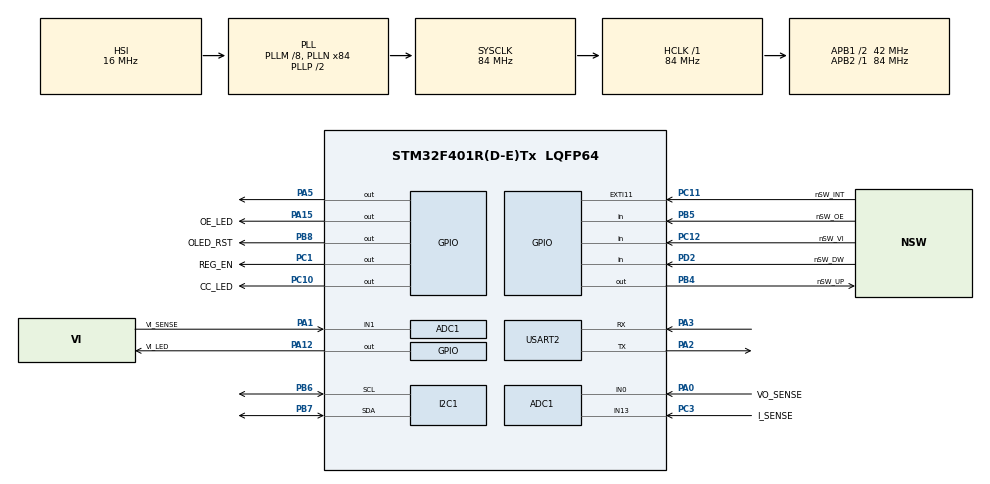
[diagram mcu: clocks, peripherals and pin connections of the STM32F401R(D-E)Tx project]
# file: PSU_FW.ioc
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ADC1.Channel-1\#ChannelRegularConversion=ADC_CHANNEL_0
ADC1.Channel-2\#ChannelRegularConversion=ADC_CHANNEL_1
ADC1.Channel-3\#ChannelRegularConversion=ADC_CHANNEL_13
ADC1.ContinuousConvMode=ENABLE
ADC1.NbrOfConversion=3
ADC1.NbrOfConversionFlag=1
ADC1.Rank-1\#ChannelRegularConversion=1
ADC1.Rank-2\#ChannelRegularConversion=2
ADC1.Rank-3\#ChannelRegularConversion=3
ADC1.SamplingTime-1\#ChannelRegularConversion=ADC_SAMPLETIME_3CYCLES
ADC1.SamplingTime-2\#ChannelRegularConversion=ADC_SAMPLETIME_3CYCLES
ADC1.SamplingTime-3\#ChannelRegularConversion=ADC_SAMPLETIME_3CYCLES
ADC1.ScanConvMode=ENABLE
ADC1.master=1
I2C1.I2C_Mode=I2C_Fast
Mcu.Family=STM32F4
Mcu.Name=STM32F401R(D-E)Tx
Mcu.Package=LQFP64
NVIC.EXTI15_10_IRQn=true\:1\:0\:true\:false\:true\:true\:true
NVIC.PriorityGroup=NVIC_PRIORITYGROUP_4
PA0-WKUP.GPIO_Label=VO_SENSE
PA0-WKUP.Signal=SharedAnalog_PA0
PA1.GPIO_Label=VI_SENSE
PA1.Signal=SharedAnalog_PA1
PA12.GPIO_Label=VI_LED
PA12.Signal=GPIO_Output
PA13.Signal=SYS_JTMS-SWDIO
PA14.Signal=SYS_JTCK-SWCLK
PA15.GPIO_Label=OE_LED
PA15.Signal=GPIO_Output
PA2.Mode=Asynchronous
PA2.Signal=USART2_TX
PA3.Mode=Asynchronous
PA3.Signal=USART2_RX
PA5.Signal=GPIO_Output
PB3.Signal=SYS_JTDO-SWO
PB4.GPIO_Label=nSW_UP
PB4.Signal=GPIO_Output
PB5.GPIO_Label=nSW_OE
PB5.Signal=GPIO_Input
PB6.Mode=I2C
PB6.Signal=I2C1_SCL
PB7.Mode=I2C
PB7.Signal=I2C1_SDA
PB8.GPIO_Label=OLED_RST
PB8.Signal=GPIO_Output
PC1.GPIO_Label=REG_EN
PC1.Signal=GPIO_Output
PC10.GPIO_Label=CC_LED
PC10.Signal=GPIO_Output
PC11.GPIO_Label=nSW_INT
PC11.GPIO_ModeDefaultEXTI=GPIO_MODE_IT_FALLING
PC11.Signal=GPXTI11
PC12.GPIO_Label=nSW_VI
PC12.Signal=GPIO_Input
PC3.GPIO_Label=I_SENSE
PC3.Signal=SharedAnalog_PC3
PD2.GPIO_Label=nSW_DW
PD2.Signal=GPIO_Input
ProjectManager.HeapSize=0x200
ProjectManager.StackSize=0x400
ProjectManager.TargetToolchain=STM32CubeIDE
RCC.48MHZClocksFreq_Value=42000000
RCC.AHBFreq_Value=84000000
RCC.APB1CLKDivider=RCC_HCLK_DIV2
RCC.APB1Freq_Value=42000000
RCC.APB1TimFreq_Value=84000000
RCC.APB2Freq_Value=84000000
RCC.APB2TimFreq_Value=84000000
RCC.CortexFreq_Value=84000000
RCC.HCLKFreq_Value=84000000
RCC.HSE_VALUE=25000000
RCC.HSI_VALUE=16000000
RCC.LSE_VALUE=32768
RCC.PLLM=8
RCC.PLLN=84
RCC.SYSCLKFreq_VALUE=84000000
RCC.SYSCLKSource=RCC_SYSCLKSOURCE_PLLCLK
RCC.VCOOutputFreq_Value=168000000
SH.SharedAnalog_PA0.0=GPIO_Analog
SH.SharedAnalog_PA0.1=ADC1_IN0,IN0
SH.SharedAnalog_PA1.0=GPIO_Analog
SH.SharedAnalog_PA1.1=ADC1_IN1,IN1
SH.SharedAnalog_PC3.0=GPIO_Analog
SH.SharedAnalog_PC3.1=ADC1_IN13,IN13
TIM10.AutoReloadPreload=TIM_AUTORELOAD_PRELOAD_DISABLE
TIM10.ClockDivision=TIM_CLOCKDIVISION_DIV1
TIM10.Period=65535
TIM10.Prescaler=8400-1
USART2.VirtualMode=VM_ASYNC
VP_TIM10_VS_ClockSourceINT.Mode=Enable_Timer
board=custom

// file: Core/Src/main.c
/* USER CODE BEGIN Header */
/**
 ******************************************************************************
 * @file           : main.c
 * @brief          : Main program body
 ******************************************************************************
 * @attention
 *
 * <h2><center>&copy; Copyright (c) 2020 STMicroelectronics.
 * All rights reserved.</center></h2>
 *
 * This software component is licensed by ST under BSD 3-Clause license,
 * the "License"; You may not use this file except in compliance with the
 * License. You may obtain a copy of the License at:
 *                        opensource.org/licenses/BSD-3-Clause
 *
 ******************************************************************************
 */
/* USER CODE END Header */
#include "main.h"

/* USER CODE BEGIN Includes */
#include <stdio.h>
#include <string.h>
#include <stdlib.h>

#include "debug.h"

#include "analog.h"

#include "buttons.h"

#include "gfx.h"
#include "ssd1306.h"

#include "leds.h"

#include "mcp4018.h"

/* USER CODE END Includes */

/* USER CODE BEGIN PD */
#define INFO_TEXT_SIZE Font_7x10
#define ERROR_TEXT_SIZE Font_11x18
#define REFRESH_INTERVAL 2500	// 2500 / (84Ε6 / 8400) = 0.25s
/* USER CODE END PD */

ADC_HandleTypeDef hadc1;

I2C_HandleTypeDef hi2c1;

TIM_HandleTypeDef htim10;

UART_HandleTypeDef huart2;

/* USER CODE BEGIN PV */
struct Stats psuStats;
uint8_t swIntFlag = RESET;
uint16_t timerVal = 0;
uint8_t timerFlag = RESET;
/* USER CODE END PV */

void SystemClock_Config(void);
static void MX_GPIO_Init(void);
static void MX_ADC1_Init(void);
static void MX_I2C1_Init(void);
static void MX_USART2_UART_Init(void);
static void MX_TIM10_Init(void);

int main(void) {

	/* MCU Configuration--------------------------------------------------------*/

	/* Reset of all peripherals, Initializes the Flash interface and the Systick. */
	HAL_Init();

	/* Configure the system clock */
	SystemClock_Config();

	/* Initialize all configured peripherals */
	MX_GPIO_Init();
	MX_ADC1_Init();
	MX_I2C1_Init();
	MX_USART2_UART_Init();
	MX_TIM10_Init();
	/* USER CODE BEGIN 2 */

	//check for i2c devices
	uint8_t i2cScanRet = i2cScan();
	if (!i2cScanRet) {
		errorLEDs(i2cScanRet);
	}
	printMsg("no I2C errors\n\n");

	//initialize entire system
	initPSU();
	/* USER CODE END 2 */

	/* Infinite loop */
	/* USER CODE BEGIN WHILE */
	while (1) {

		//get all info from ADCs
		double Vin = readVin();

		double Vout = readVout();

		double Iout = readIOut();

		//update display only when enough time has passed
		if (__HAL_TIM_GET_COUNTER(&htim10) - timerVal >= REFRESH_INTERVAL) {
			displayVoltageCurrent(Vin, Vout, Iout);
			timerVal = __HAL_TIM_GET_COUNTER(&htim10);
		}

		//only handle buttons if interrupt was flagged
		if (swIntFlag == SET) {
			buttonsHandler(whichBtn());
			swIntFlag = RESET;
		}

		//check for current surpassing set limit
		if (Iout > psuStats.iSet) {
			psuStats.iLim = I_LIM_SET;
		} else {
			psuStats.iLim = I_LIM_NSET;
		}

		//set LEDs according to setup/errors
		setLeds(psuStats);
		/* USER CODE END WHILE */

	}
}

void SystemClock_Config(void) {
	RCC_OscInitTypeDef RCC_OscInitStruct = { 0 };
	RCC_ClkInitTypeDef RCC_ClkInitStruct = { 0 };

	/** Configure the main internal regulator output voltage
	 */
	__HAL_RCC_PWR_CLK_ENABLE();
	__HAL_PWR_VOLTAGESCALING_CONFIG(PWR_REGULATOR_VOLTAGE_SCALE2);
	/** Initializes the RCC Oscillators according to the specified parameters
	 * in the RCC_OscInitTypeDef structure.
	 */
	RCC_OscInitStruct.OscillatorType = RCC_OSCILLATORTYPE_HSI;
	RCC_OscInitStruct.HSIState = RCC_HSI_ON;
	RCC_OscInitStruct.HSICalibrationValue = RCC_HSICALIBRATION_DEFAULT;
	RCC_OscInitStruct.PLL.PLLState = RCC_PLL_ON;
	RCC_OscInitStruct.PLL.PLLSource = RCC_PLLSOURCE_HSI;
	RCC_OscInitStruct.PLL.PLLM = 8;
	RCC_OscInitStruct.PLL.PLLN = 84;
	RCC_OscInitStruct.PLL.PLLP = RCC_PLLP_DIV2;
	RCC_OscInitStruct.PLL.PLLQ = 4;
	if (HAL_RCC_OscConfig(&RCC_OscInitStruct) != HAL_OK) {
		Error_Handler();
	}
	/** Initializes the CPU, AHB and APB buses clocks
	 */
	RCC_ClkInitStruct.ClockType = RCC_CLOCKTYPE_HCLK | RCC_CLOCKTYPE_SYSCLK
			| RCC_CLOCKTYPE_PCLK1 | RCC_CLOCKTYPE_PCLK2;
	RCC_ClkInitStruct.SYSCLKSource = RCC_SYSCLKSOURCE_PLLCLK;
	RCC_ClkInitStruct.AHBCLKDivider = RCC_SYSCLK_DIV1;
	RCC_ClkInitStruct.APB1CLKDivider = RCC_HCLK_DIV2;
	RCC_ClkInitStruct.APB2CLKDivider = RCC_HCLK_DIV1;

	if (HAL_RCC_ClockConfig(&RCC_ClkInitStruct, FLASH_LATENCY_2) != HAL_OK) {
		Error_Handler();
	}
}

static void MX_ADC1_Init(void) {

	ADC_ChannelConfTypeDef sConfig = { 0 };

	/** Configure the global features of the ADC (Clock, Resolution, Data Alignment and number of conversion)
	 */
	hadc1.Instance = ADC1;
	hadc1.Init.ClockPrescaler = ADC_CLOCK_SYNC_PCLK_DIV4;
	hadc1.Init.Resolution = ADC_RESOLUTION_12B;
	hadc1.Init.ScanConvMode = ENABLE;
	hadc1.Init.ContinuousConvMode = ENABLE;
	hadc1.Init.DiscontinuousConvMode = DISABLE;
	hadc1.Init.ExternalTrigConvEdge = ADC_EXTERNALTRIGCONVEDGE_NONE;
	hadc1.Init.ExternalTrigConv = ADC_SOFTWARE_START;
	hadc1.Init.DataAlign = ADC_DATAALIGN_RIGHT;
	hadc1.Init.NbrOfConversion = 3;
	hadc1.Init.DMAContinuousRequests = DISABLE;
	hadc1.Init.EOCSelection = ADC_EOC_SINGLE_CONV;
	if (HAL_ADC_Init(&hadc1) != HAL_OK) {
		Error_Handler();
	}
	/** Configure for the selected ADC regular channel its corresponding rank in the sequencer and its sample time.
	 */
	sConfig.Channel = ADC_CHANNEL_0;
	sConfig.Rank = 1;
	sConfig.SamplingTime = ADC_SAMPLETIME_3CYCLES;
	if (HAL_ADC_ConfigChannel(&hadc1, &sConfig) != HAL_OK) {
		Error_Handler();
	}
	/** Configure for the selected ADC regular channel its corresponding rank in the sequencer and its sample time.
	 */
	sConfig.Channel = ADC_CHANNEL_1;
	sConfig.Rank = 2;
	if (HAL_ADC_ConfigChannel(&hadc1, &sConfig) != HAL_OK) {
		Error_Handler();
	}
	/** Configure for the selected ADC regular channel its corresponding rank in the sequencer and its sample time.
	 */
	sConfig.Channel = ADC_CHANNEL_13;
	sConfig.Rank = 3;
	if (HAL_ADC_ConfigChannel(&hadc1, &sConfig) != HAL_OK) {
		Error_Handler();
	}

}

static void MX_I2C1_Init(void) {

	hi2c1.Instance = I2C1;
	hi2c1.Init.ClockSpeed = 400000;
	hi2c1.Init.DutyCycle = I2C_DUTYCYCLE_2;
	hi2c1.Init.OwnAddress1 = 0;
	hi2c1.Init.AddressingMode = I2C_ADDRESSINGMODE_7BIT;
	hi2c1.Init.DualAddressMode = I2C_DUALADDRESS_DISABLE;
	hi2c1.Init.OwnAddress2 = 0;
	hi2c1.Init.GeneralCallMode = I2C_GENERALCALL_DISABLE;
	hi2c1.Init.NoStretchMode = I2C_NOSTRETCH_DISABLE;
	if (HAL_I2C_Init(&hi2c1) != HAL_OK) {
		Error_Handler();
	}

}

static void MX_TIM10_Init(void) {

	htim10.Instance = TIM10;
	htim10.Init.Prescaler = 8400 - 1;
	htim10.Init.CounterMode = TIM_COUNTERMODE_UP;
	htim10.Init.Period = 65535;
	htim10.Init.ClockDivision = TIM_CLOCKDIVISION_DIV1;
	htim10.Init.AutoReloadPreload = TIM_AUTORELOAD_PRELOAD_DISABLE;
	if (HAL_TIM_Base_Init(&htim10) != HAL_OK) {
		Error_Handler();
	}

}

static void MX_USART2_UART_Init(void) {

	huart2.Instance = USART2;
	huart2.Init.BaudRate = 115200;
	huart2.Init.WordLength = UART_WORDLENGTH_8B;
	huart2.Init.StopBits = UART_STOPBITS_1;
	huart2.Init.Parity = UART_PARITY_NONE;
	huart2.Init.Mode = UART_MODE_TX_RX;
	huart2.Init.HwFlowCtl = UART_HWCONTROL_NONE;
	huart2.Init.OverSampling = UART_OVERSAMPLING_16;
	if (HAL_UART_Init(&huart2) != HAL_OK) {
		Error_Handler();
	}

}

static void MX_GPIO_Init(void) {
	GPIO_InitTypeDef GPIO_InitStruct = { 0 };

	/* GPIO Ports Clock Enable */
	__HAL_RCC_GPIOC_CLK_ENABLE();
	__HAL_RCC_GPIOA_CLK_ENABLE();
	__HAL_RCC_GPIOD_CLK_ENABLE();
	__HAL_RCC_GPIOB_CLK_ENABLE();

	/*Configure GPIO pin Output Level */
	HAL_GPIO_WritePin(GPIOC, REG_EN_Pin | CC_LED_Pin, GPIO_PIN_RESET);

	/*Configure GPIO pin Output Level */
	HAL_GPIO_WritePin(GPIOA, GPIO_PIN_5 | VI_LED_Pin | OE_LED_Pin,
			GPIO_PIN_RESET);

	/*Configure GPIO pin Output Level */
	HAL_GPIO_WritePin(GPIOB, nSW_UP_Pin | OLED_RST_Pin, GPIO_PIN_RESET);

	/*Configure GPIO pins : REG_EN_Pin CC_LED_Pin */
	GPIO_InitStruct.Pin = REG_EN_Pin | CC_LED_Pin;
	GPIO_InitStruct.Mode = GPIO_MODE_OUTPUT_PP;
	GPIO_InitStruct.Pull = GPIO_NOPULL;
	GPIO_InitStruct.Speed = GPIO_SPEED_FREQ_LOW;
	HAL_GPIO_Init(GPIOC, &GPIO_InitStruct);

	/*Configure GPIO pins : PA5 VI_LED_Pin OE_LED_Pin */
	GPIO_InitStruct.Pin = GPIO_PIN_5 | VI_LED_Pin | OE_LED_Pin;
	GPIO_InitStruct.Mode = GPIO_MODE_OUTPUT_PP;
	GPIO_InitStruct.Pull = GPIO_NOPULL;
	GPIO_InitStruct.Speed = GPIO_SPEED_FREQ_LOW;
	HAL_GPIO_Init(GPIOA, &GPIO_InitStruct);

	/*Configure GPIO pin : nSW_INT_Pin */
	GPIO_InitStruct.Pin = nSW_INT_Pin;
	GPIO_InitStruct.Mode = GPIO_MODE_IT_FALLING;
	GPIO_InitStruct.Pull = GPIO_NOPULL;
	HAL_GPIO_Init(nSW_INT_GPIO_Port, &GPIO_InitStruct);

	/*Configure GPIO pin : nSW_VI_Pin */
	GPIO_InitStruct.Pin = nSW_VI_Pin;
	GPIO_InitStruct.Mode = GPIO_MODE_INPUT;
	GPIO_InitStruct.Pull = GPIO_NOPULL;
	HAL_GPIO_Init(nSW_VI_GPIO_Port, &GPIO_InitStruct);

	/*Configure GPIO pin : nSW_DW_Pin */
	GPIO_InitStruct.Pin = nSW_DW_Pin;
	GPIO_InitStruct.Mode = GPIO_MODE_INPUT;
	GPIO_InitStruct.Pull = GPIO_NOPULL;
	HAL_GPIO_Init(nSW_DW_GPIO_Port, &GPIO_InitStruct);

	/*Configure GPIO pins : nSW_UP_Pin OLED_RST_Pin */
	GPIO_InitStruct.Pin = nSW_UP_Pin | OLED_RST_Pin;
	GPIO_InitStruct.Mode = GPIO_MODE_OUTPUT_PP;
	GPIO_InitStruct.Pull = GPIO_NOPULL;
	GPIO_InitStruct.Speed = GPIO_SPEED_FREQ_LOW;
	HAL_GPIO_Init(GPIOB, &GPIO_InitStruct);

	/*Configure GPIO pin : nSW_OE_Pin */
	GPIO_InitStruct.Pin = nSW_OE_Pin;
	GPIO_InitStruct.Mode = GPIO_MODE_INPUT;
	GPIO_InitStruct.Pull = GPIO_NOPULL;
	HAL_GPIO_Init(nSW_OE_GPIO_Port, &GPIO_InitStruct);

	/* EXTI interrupt init*/
	HAL_NVIC_SetPriority(EXTI15_10_IRQn, 1, 0);
	HAL_NVIC_EnableIRQ(EXTI15_10_IRQn);

}

/* USER CODE BEGIN 4 */
void initPSU(void) {
	//init struct for PSU
	psuStats.vSet = V_DEFAULT;
	psuStats.iSet = I_DEFAULT;
	psuStats.iLim = I_LIM_DEFAULT;
	psuStats.VI = VI_DEFAULT;
	psuStats.OE = OE_DEFAULT;

	//show current settings on LEDs
	setLeds(psuStats);

	//init and show logo on OLED
	ssd1306_Init();
	ssd1306_Fill(SSD1306_BLACK);
	showStartup();
	HAL_StatusTypeDef adcRet = HAL_ADC_Start(&hadc1);
	if (adcRet != HAL_OK) {
		ssd1306_WriteErrorMsg(2, 12, "ADC start failed");
	}

	//set pot value for Vout (half)
	MCP4018_WriteVal(psuStats.vSet);

	//initialize screen update timer
	HAL_TIM_Base_Start(&htim10);
	timerVal = __HAL_TIM_GET_COUNTER(&htim10);
}

void showStartup(void) {
	//show logo
	ssd1306_DrawBitMap(0, 0, BOOTSCREEN, 128, 32, SSD1306_WHITE);
	HAL_Delay(2000);
}

void displayVoltageCurrent(double Vin, double V, double I) {
	//clear screen
	ssd1306_Fill(SSD1306_BLACK);

	char buff[10] = { };

	//Display voltage in
	ssd1306_SetCursor(INFO_X, VIN_Y);
	ssd1306_WriteString("Vin = ", INFO_TEXT_SIZE, SSD1306_WHITE);
	if (Vin > 1000) {
		sprintf(buff, "%4.2f", Vin / 1000);
		ssd1306_WriteString(buff, INFO_TEXT_SIZE, SSD1306_WHITE);
		ssd1306_WriteString("V", INFO_TEXT_SIZE, SSD1306_WHITE);
	} else {
		sprintf(buff, "%4.2f", Vin);
		ssd1306_WriteString(buff, INFO_TEXT_SIZE, SSD1306_WHITE);
		ssd1306_WriteString("mV", INFO_TEXT_SIZE, SSD1306_WHITE);
	}

	//display whether PSU output is enabled
	ssd1306_SetCursor(ON_OFF_X, VIN_Y);
	if (psuStats.OE == OE_ENABLED)
		ssd1306_WriteString("ON", INFO_TEXT_SIZE, SSD1306_WHITE);
	else
		ssd1306_WriteString("OFF", INFO_TEXT_SIZE, SSD1306_WHITE);

	//display set voltage
	ssd1306_SetCursor(INFO_X, VSET_Y);
	ssd1306_WriteString("Vset = ", INFO_TEXT_SIZE, SSD1306_WHITE);
	if (vSetCalc() >= 1000) {
		sprintf(buff, "%4.2f", (double) vSetCalc() / 1000.0);
		ssd1306_WriteString(buff, INFO_TEXT_SIZE, SSD1306_WHITE);
		if (psuStats.VI == VI_V_SEL)
			ssd1306_WriteString("V <<", INFO_TEXT_SIZE, SSD1306_WHITE);
		else
			ssd1306_WriteString("V", INFO_TEXT_SIZE, SSD1306_WHITE);
	} else {
		sprintf(buff, "%4.2f", (double) psuStats.vSet);
		ssd1306_WriteString(buff, INFO_TEXT_SIZE, SSD1306_WHITE);
		if (psuStats.VI == VI_V_SEL)
			ssd1306_WriteString("mV <<", INFO_TEXT_SIZE, SSD1306_WHITE);
		else
			ssd1306_WriteString("mV", INFO_TEXT_SIZE, SSD1306_WHITE);
	}

	//display output voltage
	ssd1306_SetCursor(INFO_X, VOUT_Y);
	ssd1306_WriteString("Vout = ", INFO_TEXT_SIZE, SSD1306_WHITE);
	if (V >= 1000) {
		sprintf(buff, "%4.2f", V / 1000.0);
		ssd1306_WriteString(buff, INFO_TEXT_SIZE, SSD1306_WHITE);
		ssd1306_WriteString("V", INFO_TEXT_SIZE, SSD1306_WHITE);
	} else {
		sprintf(buff, "%4.2f", V);
		ssd1306_WriteString(buff, INFO_TEXT_SIZE, SSD1306_WHITE);
		ssd1306_WriteString("mV", INFO_TEXT_SIZE, SSD1306_WHITE);
	}

	//display set current
	ssd1306_SetCursor(INFO_X, ISET_Y);
	ssd1306_WriteString("Iset = ", INFO_TEXT_SIZE, SSD1306_WHITE);
	if (psuStats.iSet >= 1000) {
		sprintf(buff, "%4.2f", (double) psuStats.iSet / 1000.0);
		ssd1306_WriteString(buff, INFO_TEXT_SIZE, SSD1306_WHITE);
		if (psuStats.VI == VI_I_SEL)
			ssd1306_WriteString("A <<", INFO_TEXT_SIZE, SSD1306_WHITE);
		else
			ssd1306_WriteString("A", INFO_TEXT_SIZE, SSD1306_WHITE);
	} else {
		sprintf(buff, "%4.2f", (double) psuStats.iSet);
		ssd1306_WriteString(buff, INFO_TEXT_SIZE, SSD1306_WHITE);
		if (psuStats.VI == VI_I_SEL)
			ssd1306_WriteString("mA <<", INFO_TEXT_SIZE, SSD1306_WHITE);
		else
			ssd1306_WriteString("mA", INFO_TEXT_SIZE, SSD1306_WHITE);
	}

	//display output current
	ssd1306_SetCursor(INFO_X, IOUT_Y);
	ssd1306_WriteString("Iout = ", INFO_TEXT_SIZE, SSD1306_WHITE);
	if (I >= 1000) {
		sprintf(buff, "%4.2f", I / 1000.0);
		ssd1306_WriteString(buff, INFO_TEXT_SIZE, SSD1306_WHITE);
		ssd1306_WriteString("A", INFO_TEXT_SIZE, SSD1306_WHITE);
	} else {
		sprintf(buff, "%4.2f", I);
		ssd1306_WriteString(buff, INFO_TEXT_SIZE, SSD1306_WHITE);
		ssd1306_WriteString("mA", INFO_TEXT_SIZE, SSD1306_WHITE);
	}

	ssd1306_UpdateScreen();
}

void enableOutput(void) {
	HAL_GPIO_WritePin(REG_EN_GPIO_Port, REG_EN_Pin, GPIO_PIN_RESET);
}

void disableOutput(void) {
	HAL_GPIO_WritePin(REG_EN_GPIO_Port, REG_EN_Pin, GPIO_PIN_SET);
}

void buttonsHandler(uint8_t buttons) {
	if (buttons & VI_BTN) {
		if (psuStats.VI == VI_V_SEL) {
			psuStats.VI = VI_I_SEL;
		} else if (psuStats.VI == VI_I_SEL) {
			psuStats.VI = VI_V_SEL;
		} else { //something went wrong, reinit psu
			fatalErrorScreen();
			initPSU();
		}
	}

	if (buttons & UP_BTN) {
		if (psuStats.VI & VI_V_SEL) {
			psuStats.vSet++;
			MCP4018_WriteVal(psuStats.vSet);
		} else if (psuStats.VI & VI_I_SEL) {
			psuStats.iSet++;
		} else { //something went wrong, reinit psu
			fatalErrorScreen();
			initPSU();
		}
	}

	if (buttons & DW_BTN) {
		if (psuStats.VI & VI_V_SEL) {
			psuStats.vSet--;
			MCP4018_WriteVal(psuStats.vSet);
		} else if (psuStats.VI & VI_I_SEL) {
			psuStats.iSet--;
		} else { //something went wrong, reinit psu
			fatalErrorScreen();
			initPSU();
		}
	}

	if (buttons & OE_BTN) {
		if (psuStats.OE == OE_ENABLED) {
			psuStats.OE = OE_DISABLED;
			disableOutput();
		} else if (psuStats.OE == OE_DISABLED) {
			psuStats.OE = OE_ENABLED;
			enableOutput();
		} else { //something went wrong, reinit psu
			fatalErrorScreen();
			initPSU();
		}
	}
}

uint32_t vSetCalc(void) {
	return (psuStats.vSet - 0) * (12000 - 0) / (0x7F - 0) + 0;
}

void fatalErrorScreen(void) {
	disableOutput();
	//clear screen
	ssd1306_Fill(SSD1306_BLACK);

	ssd1306_SetCursor(2, 0);
	ssd1306_WriteString("FATAL", ERROR_TEXT_SIZE, SSD1306_WHITE);
	ssd1306_SetCursor(2, 20);
	ssd1306_WriteString("ERROR!", ERROR_TEXT_SIZE, SSD1306_WHITE);

	//countdown 5 seconds
	ssd1306_SetCursor(2, 40);
	ssd1306_WriteString("Reinit(5)!", INFO_TEXT_SIZE, SSD1306_WHITE);
	ssd1306_UpdateScreen();
	HAL_Delay(1000);

	ssd1306_SetCursor(2, 40);
	ssd1306_WriteString("Reinit(4)!.", INFO_TEXT_SIZE, SSD1306_WHITE);
	ssd1306_UpdateScreen();
	HAL_Delay(1000);

	ssd1306_SetCursor(2, 40);
	ssd1306_WriteString("Reinit(3)!..", INFO_TEXT_SIZE, SSD1306_WHITE);
	ssd1306_UpdateScreen();
	HAL_Delay(1000);

	ssd1306_SetCursor(2, 40);
	ssd1306_WriteString("Reinit(2)!...", INFO_TEXT_SIZE, SSD1306_WHITE);
	ssd1306_UpdateScreen();
	HAL_Delay(1000);

	ssd1306_SetCursor(2, 40);
	ssd1306_WriteString("Reinit(1)!....", INFO_TEXT_SIZE, SSD1306_WHITE);
	ssd1306_UpdateScreen();
	HAL_Delay(1000);

	ssd1306_SetCursor(2, 40);
	ssd1306_WriteString("Reinit(0)!.....", INFO_TEXT_SIZE, SSD1306_WHITE);
	ssd1306_UpdateScreen();
	HAL_Delay(1000);

	//flash screen
	ssd1306_Fill(SSD1306_WHITE);
	ssd1306_UpdateScreen();
	HAL_Delay(50);
	ssd1306_Fill(SSD1306_BLACK);
	ssd1306_UpdateScreen();
	HAL_Delay(50);
	ssd1306_Fill(SSD1306_WHITE);
	ssd1306_UpdateScreen();
	HAL_Delay(50);
	ssd1306_Fill(SSD1306_BLACK);
	ssd1306_UpdateScreen();
	HAL_Delay(50);
	ssd1306_Fill(SSD1306_WHITE);
	ssd1306_UpdateScreen();
	HAL_Delay(50);
}

void HAL_GPIO_EXTI_Callback(uint16_t GPIO_Pin) {
	if (GPIO_Pin == nSW_INT_Pin) // If The INT Source Is EXTI Line9 (A9 Pin)
	{
		swIntFlag = SET;
		printMsg("Int\n");
	}
}

/* USER CODE END 4 */

void Error_Handler(void) {
	__disable_irq();
	while (1) {
	}
}

/************************ (C) COPYRIGHT STMicroelectronics *****END OF FILE****/
